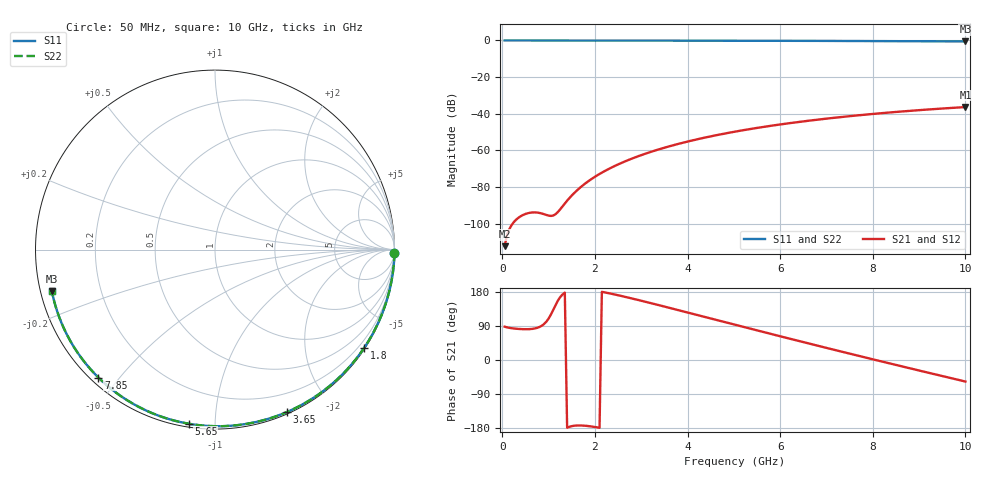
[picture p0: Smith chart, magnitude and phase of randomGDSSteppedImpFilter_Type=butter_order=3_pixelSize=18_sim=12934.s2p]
! freq	dB(S11)	phase(S11)	dB(S12)	phase(S12)
!  dB(S21)	phase(S21)	dB(S22)	phase(S22)
!S-par simulation data
#  GHz  S  DB  R 50
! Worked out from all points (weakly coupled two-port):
!   200 points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, 50 MHz to 10 GHz, reference 50 ohm
!   highest |S21| = -36.36 dB at 10 GHz (marker M1); lowest = -112.3 dB at 50 MHz (marker M2)
!   lowest |S11| = -0.6 dB at 10 GHz (marker M3), VSWR 31.26, Z = 1.62 - j6.29 ohm
!   |S11| at or under -10 dB: nowhere
!   |S22| runs from -0.6 to 0.0 dB; largest |S21 - S12| = 0
!   S11 on the Smith chart (normalised r, x): 50 MHz: open; 1.8 GHz: 0.03, -3.33; 3.65 GHz: 0.02, -1.54; 5.65 GHz: 0.02, -0.86; 7.85 GHz: 0.02, -0.44; 10 GHz: 0.03, -0.13
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0.05  -0.00 -0.9  -112.26 88.0  -112.26 88.0  -0.00 -0.9
0.45  -0.01 -8.5  -95.21 81.3  -95.21 81.3  -0.01 -8.5
0.85  -0.02 -16.0  -94.40 90.2  -94.40 90.2  -0.02 -16.0
1.65  -0.04 -30.7  -80.96 -172.7  -80.96 -172.7  -0.04 -30.7
1.7  -0.04 -31.6  -79.88 -172.8  -79.88 -172.8  -0.04 -31.6
1.75  -0.04 -32.6  -78.85 -173.1  -78.85 -173.1  -0.04 -32.5
1.8  -0.04 -33.5  -77.88 -173.6  -77.88 -173.6  -0.04 -33.5
2.1  -0.05 -38.9  -72.85 -178.9  -72.85 -178.9  -0.05 -38.9
2.5  -0.06 -46.0  -67.65 170.9  -67.65 170.9  -0.06 -46.0
2.9  -0.07 -53.1  -63.50 159.4  -63.50 159.4  -0.07 -53.1
3.4  -0.08 -61.8  -59.28 144.1  -59.28 144.1  -0.08 -61.7
3.65  -0.09 -66.0  -57.46 136.3  -57.46 136.3  -0.09 -66.0
4.3  -0.11 -76.9  -53.42 115.9  -53.42 115.9  -0.11 -76.9
5.05  -0.14 -89.1  -49.65 92.3  -49.65 92.3  -0.14 -89.1
5.65  -0.17 -98.6  -47.14 73.5  -47.14 73.5  -0.17 -98.6
6.15  -0.19 -106.4  -45.31 58.0  -45.31 58.0  -0.19 -106.4
6.7  -0.23 -114.9  -43.54 41.1  -43.54 41.1  -0.23 -114.9
7.25  -0.26 -123.2  -41.97 24.3  -41.97 24.3  -0.26 -123.2
7.85  -0.31 -132.3  -40.45 6.3  -40.45 6.3  -0.31 -132.3
8.35  -0.36 -139.9  -39.32 -8.6  -39.32 -8.6  -0.36 -139.9
9.2  -0.45 -153.0  -37.66 -33.6  -37.66 -33.6  -0.45 -153.0
10  -0.56 -165.6  -36.36 -56.8  -36.36 -56.8  -0.56 -165.6
